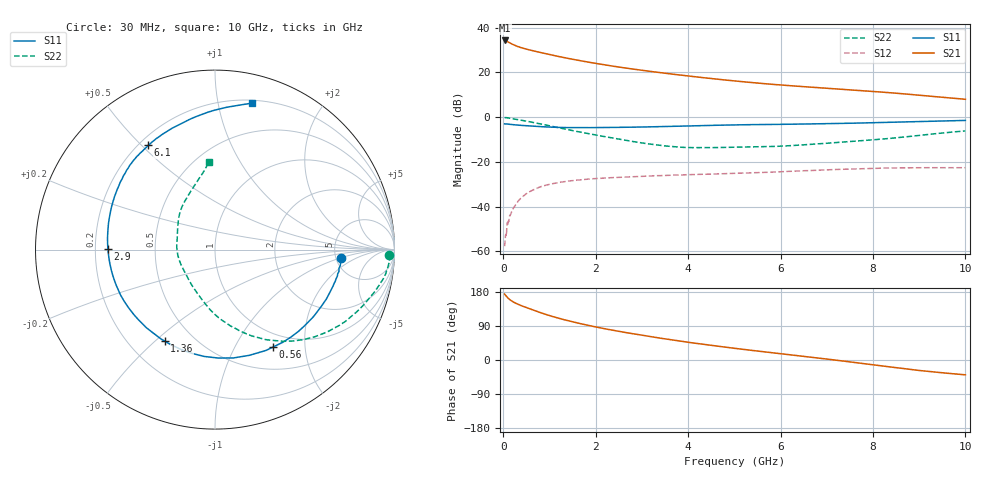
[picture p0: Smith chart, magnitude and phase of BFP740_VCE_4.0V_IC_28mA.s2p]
! Infineon Technologies  Discrete & RF Semiconductors
! BFP740
! VCE =  4.0 V,  IC =  28 mA
! Common Emitter S-Parameters:  Jan 2016
# GHz  S  MA  R  50
!  f  S11  S21  S12  S22
! GHz  MAG  ANG  MAG  ANG  MAG  ANG  MAG  ANG
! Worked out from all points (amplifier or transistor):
!   229 points, 30 MHz to 10 GHz, reference 50 ohm
!   highest |S21| = 34.2 dB at 30 MHz (marker M1)
!   |S21| within 3 dB of that: start of sweep to 355.1 MHz
!   unconditionally stable (mu >= 1): 6.289 GHz to 7.942 GHz; 8.043 GHz to 9.815 GHz
!   at 280 MHz: K = 0.32, MSG = 35.3 dB, |S12| = -38.9 dB
!   at 1.78 GHz: K = 0.49, MSG = 26.3 dB, |S12| = -27.9 dB
!   at 10 GHz: K = 0.99, MSG = 15.3 dB, |S12| = -22.7 dB
!   S11 on the Smith chart (normalised r, x): 30 MHz: 5.58, -0.98; 560 MHz: 0.80, -1.44; 1.36 GHz: 0.35, -0.54; 2.9 GHz: 0.25, +0.00; 6.1 GHz: 0.24, +0.52; 10 GHz: 0.23, +1.26
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0.03  0.7039 -3.6  51.54 174.0  0.0013 68.1  0.9709 -1.7
0.07  0.6985 -8.7  49.93 167.9  0.0023 67.5  0.9687 -5.4
0.11  0.6938 -13.6  47.56 162.7  0.0047 81.3  0.9563 -8.9
0.15  0.6863 -18.3  45.13 158.5  0.0063 76.8  0.9394 -11.8
0.195  0.6795 -23.2  42.62 154.8  0.0082 75.6  0.9206 -14.7
0.26  0.6685 -30.1  39.75 150.4  0.0107 72.3  0.8958 -18.5
0.36  0.6551 -40.4  36.34 144.9  0.0146 70.2  0.8598 -24.1
0.56  0.6316 -59.4  31.8 135.6  0.0211 62.0  0.7896 -34.2
0.7  0.6193 -72.1  29.38 129.2  0.0249 56.9  0.7407 -40.8
0.94  0.6008 -91.3  25.82 119.5  0.0302 49.7  0.6565 -51.0
1.12  0.5906 -104.1  23.52 112.8  0.0332 45.0  0.5979 -57.8
1.36  0.5819 -118.8  20.88 105.0  0.0365 40.0  0.5318 -65.7
1.7  0.5785 -136.5  17.92 95.1  0.0397 34.8  0.4526 -75.6
2.26  0.5848 -159.7  14.31 81.0  0.0436 28.1  0.3556 -91.1
2.9  0.5971 179.6  11.46 67.3  0.0468 23.1  0.2738 -108.4
3.4  0.6112 166.1  9.823 57.6  0.049 20.0  0.2331 -124.9
4.2  0.6399 148.3  7.847 43.5  0.0523 15.9  0.2071 -154.0
5.1  0.6698 133.9  6.278 29.4  0.0554 12.4  0.2122 180.0
6.1  0.6902 122.6  5.121 15.4  0.0605 9.2  0.2258 158.3
6.8  0.7064 114.4  4.549 5.5  0.0648 5.6  0.2506 145.2
8.4  0.7671 92.8  3.478 -18.7  0.0728 -5.6  0.3355 116.6
10  0.8408 75.9  2.495 -39.1  0.0737 -15.5  0.4904 93.8
